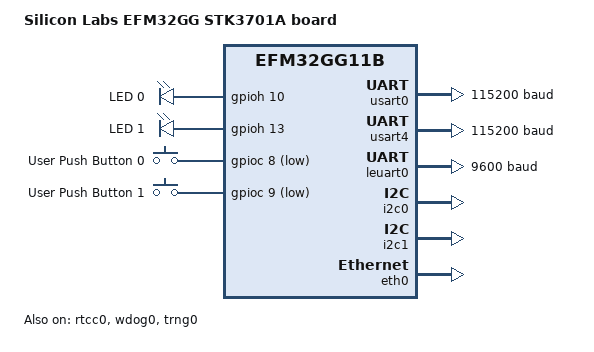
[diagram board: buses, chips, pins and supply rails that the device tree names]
/*
 * Copyright (c) 2019 Interay Solutions B.V.
 * Copyright (c) 2019 Oane Kingma
 *
 * SPDX-License-Identifier: Apache-2.0
 */

/dts-v1/;
#include <silabs/efm32gg11b820f2048gl192.dtsi>

/ {
	model = "Silicon Labs EFM32GG STK3701A board";
	compatible = "silabs,efm32gg_stk3701a", "silabs,efm32gg11b";

	chosen {
		zephyr,console = &usart4;
		zephyr,shell-uart = &usart4;
		zephyr,sram = &sram0;
		zephyr,flash = &flash0;
	};

	/* These aliases are provided for compatibility with samples */
	aliases {
		led0 = &led0;
		led1 = &led1;
		sw0 = &button0;
		sw1 = &button1;
		watchdog0 = &wdog0;
	};

	leds {
		compatible = "gpio-leds";
		led0: led_0 {
			gpios = <&gpioh 10 0>;
			label = "LED 0";
		};
		led1: led_1 {
			gpios = <&gpioh 13 0>;
			label = "LED 1";
		};
	};

	buttons {
		compatible = "gpio-keys";
		button0: button_0 {
			/* gpio flags need validation */
			gpios = <&gpioc 8 GPIO_ACTIVE_LOW>;
			label = "User Push Button 0";
		};
		button1: button_1 {
			/* gpio flags need validation */
			gpios = <&gpioc 9 GPIO_ACTIVE_LOW>;
			label = "User Push Button 1";
		};
	};
};

&usart0 {
	current-speed = <115200>;
	location-rx = <GECKO_LOCATION(0) GECKO_PORT_E GECKO_PIN(11)>;
	location-tx = <GECKO_LOCATION(0) GECKO_PORT_E GECKO_PIN(10)>;
	status = "okay";
};

&usart4 {
	current-speed = <115200>;
	location-rx = <GECKO_LOCATION(4) GECKO_PORT_H GECKO_PIN(5)>;
	location-tx = <GECKO_LOCATION(4) GECKO_PORT_H GECKO_PIN(4)>;
	status = "okay";
};

&leuart0 {
	current-speed = <9600>;
	location-rx = <GECKO_LOCATION(18) GECKO_PORT_D GECKO_PIN(11)>;
	location-tx = <GECKO_LOCATION(18) GECKO_PORT_D GECKO_PIN(10)>;
	status = "okay";
};

&i2c0 {
	location-sda = <GECKO_LOCATION(4) GECKO_PORT_C GECKO_PIN(0)>;
	location-scl = <GECKO_LOCATION(4) GECKO_PORT_C GECKO_PIN(1)>;
	status = "okay";
};

&i2c1 {
	location-sda = <GECKO_LOCATION(0) GECKO_PORT_C GECKO_PIN(4)>;
	location-scl = <GECKO_LOCATION(0) GECKO_PORT_C GECKO_PIN(5)>;
	status = "okay";
};

&rtcc0 {
	prescaler = <1>;
	status = "okay";
};

&gpio {
	location-swo = <0>;
	status = "okay";
};

&gpioa {
	status = "okay";
};

&gpiob {
	status = "okay";
};

&gpioc {
	status = "okay";
};

&gpiod {
	status = "okay";
};

&gpioe {
	status = "okay";
};

&gpiof {
	status = "okay";
};

&gpiog {
	status = "okay";
};

&gpioh {
	status = "okay";
};

&gpioi {
	status = "okay";
};

&eth0 {
	/* PHY address = 0 */
	phy-address = <0>;

	/* PHY management pins */
	location-mdio        = <GECKO_LOCATION(1)>;
	location-phy_mdc     = <GECKO_LOCATION(1) GECKO_PORT_D GECKO_PIN(14)>;
	location-phy_mdio    = <GECKO_LOCATION(1) GECKO_PORT_D GECKO_PIN(13)>;

	/* RMII interface pins */
	location-rmii        = <GECKO_LOCATION(1)>;
	location-rmii_refclk = <GECKO_LOCATION(5) GECKO_PORT_D GECKO_PIN(10)>;
	location-rmii_crs_dv = <GECKO_LOCATION(1) GECKO_PORT_D GECKO_PIN(11)>;
	location-rmii_txd0   = <GECKO_LOCATION(1) GECKO_PORT_F GECKO_PIN(7)>;
	location-rmii_txd1   = <GECKO_LOCATION(1) GECKO_PORT_F GECKO_PIN(6)>;
	location-rmii_tx_en  = <GECKO_LOCATION(1) GECKO_PORT_F GECKO_PIN(8)>;
	location-rmii_rxd0   = <GECKO_LOCATION(1) GECKO_PORT_D GECKO_PIN(9)>;
	location-rmii_rxd1   = <GECKO_LOCATION(1) GECKO_PORT_F GECKO_PIN(9)>;
	location-rmii_rx_er  = <GECKO_LOCATION(1) GECKO_PORT_D GECKO_PIN(12)>;

	status = "okay";
};

&flash0 {

	partitions {
		compatible = "fixed-partitions";
		#address-cells = <1>;
		#size-cells = <1>;

		/* Set 12Kb of storage at the end of the 2048Kb of flash */
		storage_partition: partition@1fd000 {
			label = "storage";
			reg = <0x001fd000 0x00003000>;
		};
	};
};

&wdog0 {
	status = "okay";
};

&trng0 {
	status = "okay";
};

&cpu0 {
	clock-frequency = <72000000>;
};
